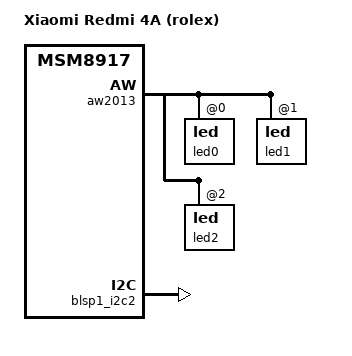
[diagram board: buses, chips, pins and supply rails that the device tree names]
// SPDX-License-Identifier: GPL-2.0-only
/*
 * Copyright (c) 2026, Barnabas Czeman
 */

/dts-v1/;

#include "msm8917-xiaomi-wingtech.dtsi"

/ {
	model = "Xiaomi Redmi 4A (rolex)";
	compatible = "xiaomi,rolex", "qcom,msm8917";

	qcom,board-id = <0x1000b 1>;

	multi-led {
		compatible = "leds-group-multicolor";
		color = <LED_COLOR_ID_RGB>;
		function = LED_FUNCTION_STATUS;
		leds = <&led0>, <&led1>, <&led2>;
	};
};

&aw2013 {
	status = "okay";

	led0: led@0 {
		reg = <0>;
		led-max-microamp = <5000>;
		color = <LED_COLOR_ID_RED>;
	};

	led1: led@1 {
		reg = <1>;
		led-max-microamp = <5000>;
		color = <LED_COLOR_ID_GREEN>;
	};

	led2: led@2 {
		reg = <2>;
		led-max-microamp = <5000>;
		color = <LED_COLOR_ID_BLUE>;
	};
};

&blsp1_i2c2 {
	status = "okay";
};
